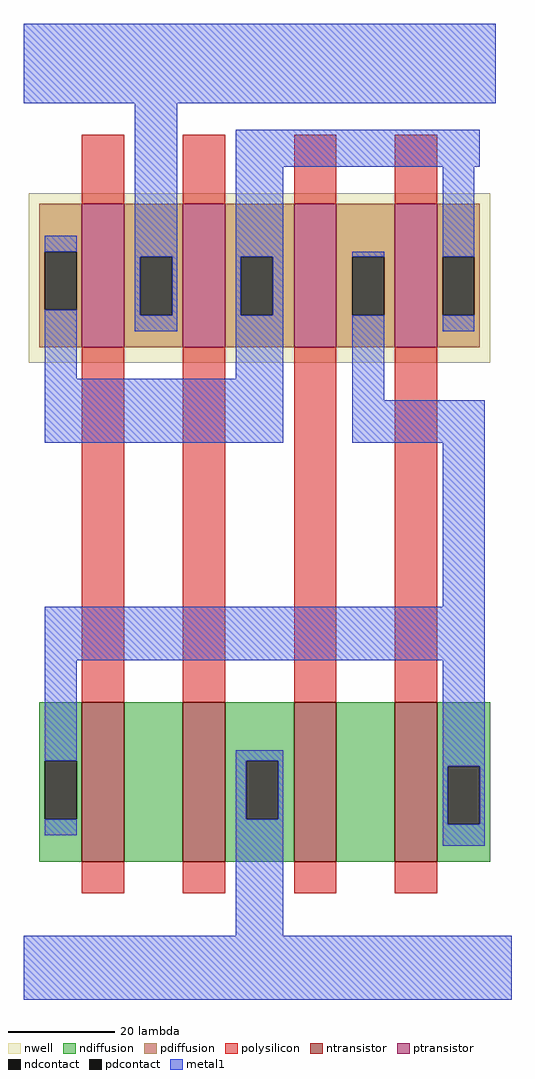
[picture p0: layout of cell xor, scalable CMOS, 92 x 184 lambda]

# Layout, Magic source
magic
tech scmos
<< nwell >>
rect -37 10 50 42
<< polysilicon >>
rect -27 40 -19 53
rect -8 40 0 53
rect 13 40 21 53
rect 32 40 40 53
rect -27 -54 -19 13
rect -8 -54 0 13
rect 13 -54 21 13
rect 32 -54 40 13
rect -27 -90 -19 -84
rect -8 -90 0 -84
rect 13 -90 21 -84
rect 32 -90 40 -84
<< ndiffusion >>
rect -35 -65 -27 -54
rect -35 -76 -34 -65
rect -28 -76 -27 -65
rect -35 -84 -27 -76
rect -19 -84 -8 -54
rect 0 -65 13 -54
rect 0 -76 4 -65
rect 10 -76 13 -65
rect 0 -84 13 -76
rect 21 -84 32 -54
rect 40 -66 50 -54
rect 40 -77 42 -66
rect 48 -77 50 -66
rect 40 -84 50 -77
<< pdiffusion >>
rect -35 31 -27 40
rect -35 20 -34 31
rect -28 20 -27 31
rect -35 13 -27 20
rect -19 30 -8 40
rect -19 19 -16 30
rect -10 19 -8 30
rect -19 13 -8 19
rect 0 30 13 40
rect 0 19 3 30
rect 9 19 13 30
rect 0 13 13 19
rect 21 30 32 40
rect 21 19 24 30
rect 30 19 32 30
rect 21 13 32 19
rect 40 30 48 40
rect 40 19 41 30
rect 47 19 48 30
rect 40 13 48 19
<< metal1 >>
rect -38 59 51 74
rect -34 31 -28 34
rect -34 7 -28 20
rect -17 30 -9 59
rect -17 19 -16 30
rect -10 19 -9 30
rect -17 16 -9 19
rect 2 47 48 54
rect 2 30 11 47
rect 2 19 3 30
rect 9 19 11 30
rect 2 7 11 19
rect -34 -5 11 7
rect 24 30 30 31
rect 24 3 30 19
rect 41 30 47 47
rect 41 16 47 19
rect 24 -5 49 3
rect 41 -36 49 -5
rect -34 -46 49 -36
rect -34 -65 -28 -46
rect -34 -79 -28 -76
rect 2 -65 11 -63
rect 2 -76 4 -65
rect 10 -76 11 -65
rect 2 -98 11 -76
rect 41 -66 49 -46
rect 41 -77 42 -66
rect 48 -77 49 -66
rect 41 -81 49 -77
rect -38 -110 54 -98
<< ntransistor >>
rect -27 -84 -19 -54
rect -8 -84 0 -54
rect 13 -84 21 -54
rect 32 -84 40 -54
<< ptransistor >>
rect -27 13 -19 40
rect -8 13 0 40
rect 13 13 21 40
rect 32 13 40 40
<< ndcontact >>
rect -34 -76 -28 -65
rect 4 -76 10 -65
rect 42 -77 48 -66
<< pdcontact >>
rect -34 20 -28 31
rect -16 19 -10 30
rect 3 19 9 30
rect 24 19 30 30
rect 41 19 47 30
<< end >>
